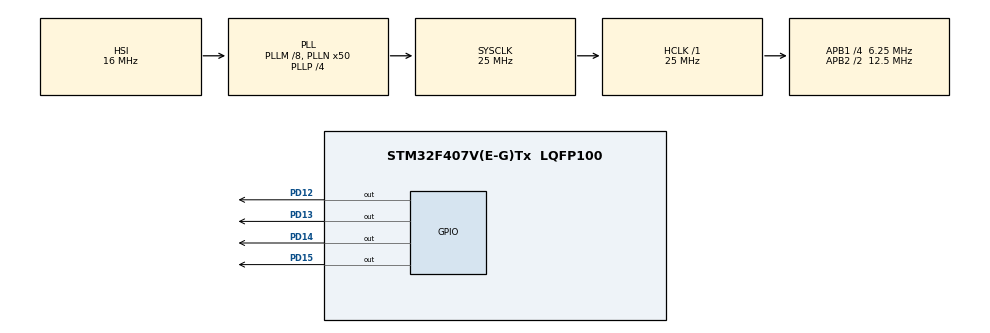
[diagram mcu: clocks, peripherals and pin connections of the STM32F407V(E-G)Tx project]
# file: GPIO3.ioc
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Mcu.Family=STM32F4
Mcu.Name=STM32F407V(E-G)Tx
Mcu.Package=LQFP100
NVIC.PriorityGroup=NVIC_PRIORITYGROUP_4
NVIC.TIM1_UP_TIM10_IRQn=true\:0\:0\:false\:false\:true\:false\:true\:true
NVIC.TimeBase=TIM1_UP_TIM10_IRQn
NVIC.TimeBaseIP=TIM1
PD12.Signal=GPIO_Output
PD13.Signal=GPIO_Output
PD14.Signal=GPIO_Output
PD15.Signal=GPIO_Output
ProjectManager.HeapSize=0x200
ProjectManager.StackSize=0x400
ProjectManager.TargetToolchain=STM32CubeIDE
RCC.48MHZClocksFreq_Value=14285714.285714285
RCC.AHBFreq_Value=25000000
RCC.APB1CLKDivider=RCC_HCLK_DIV4
RCC.APB1Freq_Value=6250000
RCC.APB1TimFreq_Value=12500000
RCC.APB2CLKDivider=RCC_HCLK_DIV2
RCC.APB2Freq_Value=12500000
RCC.APB2TimFreq_Value=25000000
RCC.CortexFreq_Value=25000000
RCC.HCLKFreq_Value=25000000
RCC.HSE_VALUE=8000000
RCC.HSI_VALUE=16000000
RCC.LSE_VALUE=32768
RCC.PLLM=8
RCC.PLLN=50
RCC.PLLP=RCC_PLLP_DIV4
RCC.PLLQ=7
RCC.SYSCLKFreq_VALUE=25000000
RCC.SYSCLKSource=RCC_SYSCLKSOURCE_PLLCLK
RCC.VCOOutputFreq_Value=100000000
VP_SYS_VS_tim1.Mode=TIM1
board=STM32F407G-DISC1

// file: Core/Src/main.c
/* USER CODE BEGIN Header */
/**
  ******************************************************************************
  * @file           : main.c
  * @brief          : Main program body
  ******************************************************************************
  * @attention
  *
  * Copyright (c) 2024 STMicroelectronics.
  * All rights reserved.
  *
  * This software is licensed under terms that can be found in the LICENSE file
  * in the root directory of this software component.
  * If no LICENSE file comes with this software, it is provided AS-IS.
  *
  ******************************************************************************
  */
/* USER CODE END Header */
#include "main.h"

/* USER CODE BEGIN Includes */
#include "FreeRTOS.h"
#include "FreeRTOSConfig.h"
#include "task.h"
/* USER CODE END Includes */

void SystemClock_Config(void);
static void MX_GPIO_Init(void);

/* USER CODE BEGIN 0 */

void vAperiodicTask1(void *pvParam)
{
	while(1)
	{
		HAL_GPIO_TogglePin(GPIOD, GPIO_PIN_12);
		vTaskDelay(1000 / portTICK_RATE_MS);
	}
	vTaskDelete(NULL);
}

void vAperiodicTask2(void *pvParam)
{
	while(1)
	{
		HAL_GPIO_TogglePin(GPIOD, GPIO_PIN_13);
		vTaskDelay(2000 / portTICK_RATE_MS);
	}
	vTaskDelete(NULL);
}

void vAperiodicTask3(void *pvParam)
{
	while(1)
	{
		HAL_GPIO_TogglePin(GPIOD, GPIO_PIN_14);
		vTaskDelay(3000 / portTICK_RATE_MS);
	}
	vTaskDelete(NULL);
}

void vAperiodicTask4(void *pvParam)
{
	while(1)
	{
		HAL_GPIO_TogglePin(GPIOD, GPIO_PIN_15);
		vTaskDelay(4000 / portTICK_RATE_MS);
	}
	vTaskDelete(NULL);
}

/* USER CODE END 0 */

int main(void)
{

  /* USER CODE BEGIN 1 */
	BaseType_t ret;
  /* USER CODE END 1 */

  /* MCU Configuration--------------------------------------------------------*/

  /* Reset of all peripherals, Initializes the Flash interface and the Systick. */
  HAL_Init();

  /* Configure the system clock */
  SystemClock_Config();

  /* Initialize all configured peripherals */
  MX_GPIO_Init();
  /* USER CODE BEGIN 2 */
  ret = xTaskCreate(vAperiodicTask1, "Aperiodic1", configMINIMAL_STACK_SIZE, NULL, 1, NULL);
    if(ret != pdTRUE)
    	  Error_Handler();

    ret = xTaskCreate(vAperiodicTask2, "Aperiodic2", configMINIMAL_STACK_SIZE, NULL, 2, NULL);
        if(ret != pdTRUE)
        	  Error_Handler();

     ret = xTaskCreate(vAperiodicTask3, "Aperiodic3", configMINIMAL_STACK_SIZE, NULL, 3, NULL);
        if(ret != pdTRUE)
            	  Error_Handler();

    ret = xTaskCreate(vAperiodicTask4, "Aperiodic4", configMINIMAL_STACK_SIZE, NULL, 4, NULL);
      if(ret != pdTRUE)
      	  Error_Handler();

      vTaskStartScheduler();

  /* USER CODE END 2 */

  /* Infinite loop */
  while (1)
  {

  }
}

void SystemClock_Config(void)
{
  RCC_OscInitTypeDef RCC_OscInitStruct = {0};
  RCC_ClkInitTypeDef RCC_ClkInitStruct = {0};

  /** Configure the main internal regulator output voltage
  */
  __HAL_RCC_PWR_CLK_ENABLE();
  __HAL_PWR_VOLTAGESCALING_CONFIG(PWR_REGULATOR_VOLTAGE_SCALE1);

  /** Initializes the RCC Oscillators according to the specified parameters
  * in the RCC_OscInitTypeDef structure.
  */
  RCC_OscInitStruct.OscillatorType = RCC_OSCILLATORTYPE_HSI;
  RCC_OscInitStruct.HSIState = RCC_HSI_ON;
  RCC_OscInitStruct.HSICalibrationValue = RCC_HSICALIBRATION_DEFAULT;
  RCC_OscInitStruct.PLL.PLLState = RCC_PLL_ON;
  RCC_OscInitStruct.PLL.PLLSource = RCC_PLLSOURCE_HSI;
  RCC_OscInitStruct.PLL.PLLM = 8;
  RCC_OscInitStruct.PLL.PLLN = 50;
  RCC_OscInitStruct.PLL.PLLP = RCC_PLLP_DIV4;
  RCC_OscInitStruct.PLL.PLLQ = 7;
  if (HAL_RCC_OscConfig(&RCC_OscInitStruct) != HAL_OK)
  {
    Error_Handler();
  }

  /** Initializes the CPU, AHB and APB buses clocks
  */
  RCC_ClkInitStruct.ClockType = RCC_CLOCKTYPE_HCLK|RCC_CLOCKTYPE_SYSCLK
                              |RCC_CLOCKTYPE_PCLK1|RCC_CLOCKTYPE_PCLK2;
  RCC_ClkInitStruct.SYSCLKSource = RCC_SYSCLKSOURCE_PLLCLK;
  RCC_ClkInitStruct.AHBCLKDivider = RCC_SYSCLK_DIV1;
  RCC_ClkInitStruct.APB1CLKDivider = RCC_HCLK_DIV4;
  RCC_ClkInitStruct.APB2CLKDivider = RCC_HCLK_DIV2;

  if (HAL_RCC_ClockConfig(&RCC_ClkInitStruct, FLASH_LATENCY_0) != HAL_OK)
  {
    Error_Handler();
  }
}

static void MX_GPIO_Init(void)
{
  GPIO_InitTypeDef GPIO_InitStruct = {0};

  /* GPIO Ports Clock Enable */
  __HAL_RCC_GPIOD_CLK_ENABLE();

  /*Configure GPIO pin Output Level */
  HAL_GPIO_WritePin(GPIOD, GPIO_PIN_12|GPIO_PIN_13|GPIO_PIN_14|GPIO_PIN_15, GPIO_PIN_RESET);

  /*Configure GPIO pins : PD12 PD13 PD14 PD15 */
  GPIO_InitStruct.Pin = GPIO_PIN_12|GPIO_PIN_13|GPIO_PIN_14|GPIO_PIN_15;
  GPIO_InitStruct.Mode = GPIO_MODE_OUTPUT_PP;
  GPIO_InitStruct.Pull = GPIO_NOPULL;
  GPIO_InitStruct.Speed = GPIO_SPEED_FREQ_LOW;
  HAL_GPIO_Init(GPIOD, &GPIO_InitStruct);

}

void HAL_TIM_PeriodElapsedCallback(TIM_HandleTypeDef *htim)
{
  if (htim->Instance == TIM1) {
    HAL_IncTick();
  }
}

void Error_Handler(void)
{
  __disable_irq();
  while (1)
  {
  }
}
